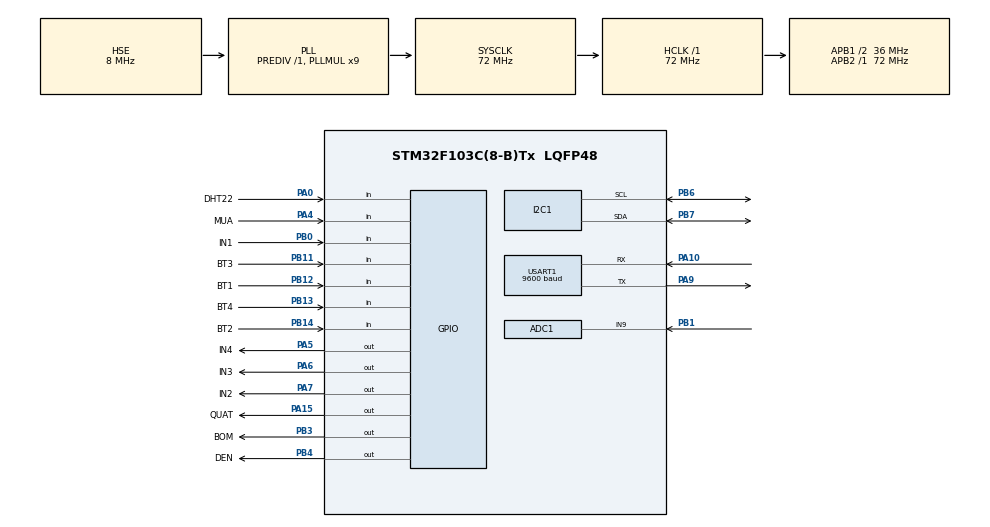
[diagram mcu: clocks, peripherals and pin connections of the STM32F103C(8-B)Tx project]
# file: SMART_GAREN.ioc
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Mcu.Family=STM32F1
ADC1.ContinuousConvMode=DISABLE
USART1.BaudRate=9600
PB14.GPIO_Label=BT2
PA6.GPIO_Label=IN3
PB0.GPIO_Label=IN1
PB11.GPIO_PuPd=GPIO_PULLUP
PB13.GPIO_Label=BT4
PB11.Signal=GPIO_Input
PB13.Signal=GPIO_Input
RCC.SYSCLKSource=RCC_SYSCLKSOURCE_PLLCLK
ProjectManager.StackSize=0x400
PD1-OSC_OUT.Signal=RCC_OSC_OUT
PA15.GPIO_Label=QUAT
TIM1.Prescaler=72-1
RCC.HCLKFreq_Value=72000000
RCC.APB2TimFreq_Value=72000000
PB6.Signal=I2C1_SCL
Dma.ADC1.0.Direction=DMA_PERIPH_TO_MEMORY
PB6.Mode=I2C
Dma.ADC1.0.MemDataAlignment=DMA_MDATAALIGN_WORD
RCC.AHBFreq_Value=72000000
PA4.GPIO_PuPd=GPIO_PULLUP
RCC.PLLMUL=RCC_PLL_MUL9
PB12.GPIO_Label=BT1
ADC1.SamplingTime-4\#ChannelRegularConversion=ADC_SAMPLETIME_55CYCLES_5
PA14.Mode=Serial_Wire
Dma.ADC1.0.PeriphInc=DMA_PINC_DISABLE
PB7.Signal=I2C1_SDA
VP_TIM1_VS_ClockSourceINT.Mode=Internal
Mcu.Package=LQFP48
PB14.GPIO_PuPd=GPIO_PULLUP
PB1.Signal=ADCx_IN9
PA6.Signal=GPIO_Output
PA10.Signal=USART1_RX
PA15.Signal=GPIO_Output
SH.ADCx_IN9.0=ADC1_IN9,IN9
RCC.APB1TimFreq_Value=72000000
TIM1.Period=0xffff-1
NVIC.USART1_IRQn=true\:0\:0\:false\:false\:true\:true\:true
Dma.Request0=ADC1
PA4.GPIO_Label=MUA
ADC1.Rank-4\#ChannelRegularConversion=1
PB4.Signal=GPIO_Output
PB3.GPIO_Label=BOM
RCC.PLLSourceVirtual=RCC_PLLSOURCE_HSE
Dma.ADC1.0.Instance=DMA1_Channel1
PD1-OSC_OUT.Mode=HSE-External-Oscillator
ADC1.Channel-4\#ChannelRegularConversion=ADC_CHANNEL_9
PA10.Mode=Asynchronous
PB11.GPIO_Label=BT3
PD0-OSC_IN.Signal=RCC_OSC_IN
RCC.APB1CLKDivider=RCC_HCLK_DIV2
PA0-WKUP.GPIO_Label=DHT22
PA0-WKUP.Signal=GPIO_Input
RCC.ADCPresc=RCC_ADCPCLK2_DIV6
PA13.Signal=SYS_JTMS-SWDIO
Dma.ADC1.0.PeriphDataAlignment=DMA_PDATAALIGN_WORD
PA9.Mode=Asynchronous
ProjectManager.TargetToolchain=STM32CubeIDE
Dma.ADC1.0.Mode=DMA_CIRCULAR
Dma.ADC1.0.Priority=DMA_PRIORITY_LOW
PA9.Signal=USART1_TX
RCC.USBFreq_Value=72000000
PD0-OSC_IN.Mode=HSE-External-Oscillator
PB14.Signal=GPIO_Input
PA5.Signal=GPIO_Output
board=custom
PB13.GPIO_PuPd=GPIO_PULLUP
RCC.APB2Freq_Value=72000000
PB4.GPIO_Label=DEN
PA13.Mode=Serial_Wire
Mcu.Name=STM32F103C(8-B)Tx
PB3.Signal=GPIO_Output
PA4.Signal=GPIO_Input
RCC.SYSCLKFreq_VALUE=72000000
PA7.GPIO_Label=IN2
ADC1.master=1
PA5.GPIO_Label=IN4
USART1.VirtualMode=VM_ASYNC
PB7.Mode=I2C
PA14.Signal=SYS_JTCK-SWCLK
Dma.ADC1.0.MemInc=DMA_MINC_ENABLE
ProjectManager.HeapSize=0x200
NVIC.PriorityGroup=NVIC_PRIORITYGROUP_4
ADC1.NbrOfConversionFlag=1
ADC1.EnableRegularConversion=ENABLE
NVIC.DMA1_Channel1_IRQn=true\:0\:0\:false\:false\:true\:false\:true
PB12.GPIO_PuPd=GPIO_PULLUP
RCC.APB1Freq_Value=36000000
PB0.Signal=GPIO_Input
PB12.Signal=GPIO_Input
PA7.Signal=GPIO_Output

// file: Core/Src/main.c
/* USER CODE BEGIN Header */
/**
 ******************************************************************************
 * @file           : main.c
 * @brief          : Main program body
 ******************************************************************************
 * @attention
 *
 * <h2><center>&copy; Copyright (c) 2023 STMicroelectronics.
 * All rights reserved.</center></h2>
 *
 * This software component is licensed by ST under BSD 3-Clause license,
 * the "License"; You may not use this file except in compliance with the
 * License. You may obtain a copy of the License at:
 *                        opensource.org/licenses/BSD-3-Clause
 *
 ******************************************************************************
 */
/* USER CODE END Header */
#include "main.h"

/* USER CODE BEGIN Includes */
#include "stdbool.h"
#include "stdio.h"
#include "string.h"
#include "i2c-lcd.h"
#include "button.h"
/* USER CODE END Includes */

ADC_HandleTypeDef hadc1;
DMA_HandleTypeDef hdma_adc1;

I2C_HandleTypeDef hi2c1;

TIM_HandleTypeDef htim1;

UART_HandleTypeDef huart1;

/* USER CODE BEGIN PV */
Button_t bt1, bt2, bt3, bt4;
/* USER CODE END PV */

void SystemClock_Config(void);
static void MX_GPIO_Init(void);
static void MX_DMA_Init(void);
static void MX_ADC1_Init(void);
static void MX_I2C1_Init(void);
static void MX_USART1_UART_Init(void);
static void MX_TIM1_Init(void);

/* USER CODE BEGIN 0 */
void microDelay(uint16_t delay) {
	__HAL_TIM_SET_COUNTER(&htim1, 0);
	while (__HAL_TIM_GET_COUNTER(&htim1) < delay)
		;
}
uint32_t value_adc;
uint16_t DAD;
uint64_t t_prev, t_prev2;
#define DHT22_PORT GPIOA
#define DHT22_PIN GPIO_PIN_0
uint8_t RH1, RH2, TC1, TC2, SUM, CHECK;
uint32_t pMillis, cMillis;
float tCelsius = 0;

float tFahrenheit = 0;
float RH = 0;

uint8_t DHT22_Start(void) {
	uint8_t Response = 0;
	GPIO_InitTypeDef GPIO_InitStructPrivate = { 0 };
	GPIO_InitStructPrivate.Pin = DHT22_PIN;
	GPIO_InitStructPrivate.Mode = GPIO_MODE_OUTPUT_PP;
	GPIO_InitStructPrivate.Speed = GPIO_SPEED_FREQ_LOW;
	GPIO_InitStructPrivate.Pull = GPIO_NOPULL;
	HAL_GPIO_Init(DHT22_PORT, &GPIO_InitStructPrivate); // set the pin as output
	HAL_GPIO_WritePin(DHT22_PORT, DHT22_PIN, 0);   // pull the pin low
	microDelay(1300);   // wait for 1300us
	HAL_GPIO_WritePin(DHT22_PORT, DHT22_PIN, 1);   // pull the pin high
	microDelay(30);   // wait for 30us
	GPIO_InitStructPrivate.Mode = GPIO_MODE_INPUT;
	GPIO_InitStructPrivate.Pull = GPIO_PULLUP;
	HAL_GPIO_Init(DHT22_PORT, &GPIO_InitStructPrivate); // set the pin as input
	microDelay(40);
	if (!(HAL_GPIO_ReadPin(DHT22_PORT, DHT22_PIN))) {
		microDelay(80);
		if ((HAL_GPIO_ReadPin(DHT22_PORT, DHT22_PIN)))
			Response = 1;
	}
	pMillis = HAL_GetTick();
	cMillis = HAL_GetTick();
	while ((HAL_GPIO_ReadPin(DHT22_PORT, DHT22_PIN)) && pMillis + 2 > cMillis) {
		cMillis = HAL_GetTick();
	}
	return Response;
}
uint8_t DHT22_Read(void) {
	uint8_t a, b;
	for (a = 0; a < 8; a++) {
		pMillis = HAL_GetTick();
		cMillis = HAL_GetTick();
		while (!(HAL_GPIO_ReadPin(DHT22_PORT, DHT22_PIN))
				&& pMillis + 2 > cMillis) {  // wait for the pin to go high
			cMillis = HAL_GetTick();
		}
		microDelay(40);   // wait for 40 us
		if (!(HAL_GPIO_ReadPin(DHT22_PORT, DHT22_PIN)))   // if the pin is low
			b &= ~(1 << (7 - a));
		else
			b |= (1 << (7 - a));
		pMillis = HAL_GetTick();
		cMillis = HAL_GetTick();
		while ((HAL_GPIO_ReadPin(DHT22_PORT, DHT22_PIN))
				&& pMillis + 2 > cMillis) {  // wait for the pin to go low
			cMillis = HAL_GetTick();
		}
	}
	return b;
}
void DHT22_value() {
	if (DHT22_Start()) {
		RH1 = DHT22_Read(); // First 8bits of humidity
		RH2 = DHT22_Read(); // Second 8bits of Relative humidity
		TC1 = DHT22_Read(); // First 8bits of Celsius
		TC2 = DHT22_Read(); // Second 8bits of Celsius
		SUM = DHT22_Read(); // Check sum
		CHECK = RH1 + RH2 + TC1 + TC2;
		if (CHECK == SUM) {
			if (TC1 > 127) // If TC1=10000000, negative temperature
					{
				tCelsius = (float) TC2 / 10 * (-1);
			} else {
				tCelsius = (float) ((TC1 << 8) | TC2) / 10;
			}
			tFahrenheit = tCelsius * 9 / 5 + 32;
			RH = (float) ((RH1 << 8) | RH2) / 10;
		}
	}
}
long map(long x, long in_min, long in_max, long out_min, long out_max) {
	return (x - in_min) * (out_max - out_min) / (in_max - in_min) + out_min;
}
uint8_t bom, quat, den;
uint8_t bom1 = 0, quat1 = 0, den1 = 0;
uint8_t tt = 0, tt1 = 0;
void bt_press_callback(Button_t *button) {
	if (button == &bt1) {
		bom1++;
		if (bom1 >= 2) {
			bom1 = 0;
			bom = 0;
		} else {
			bom = 1;
		}
	} else if (button == &bt2) {
		quat1++;
		if (quat1 >= 2) {
			quat1 = 0;
			quat = 0;
		} else {
			quat = 1;
		}
	} else if (button == &bt3) {
		den1++;
		if (den1 >= 2) {
			den1 = 0;
			den = 0;
		} else {
			den = 1;
		}
	} else if (button == &bt4) {
		tt1++;
		if (tt1 >= 2) {
			tt1 = 0;
			tt = 0;
		} else {
			tt = 1;
		}
	}
}
void on_off_led(uint8_t b, uint8_t q, uint8_t d) {
	switch (b) {
	case 1:
		HAL_GPIO_WritePin(BOM_GPIO_Port, BOM_Pin, 1);
		break;
	case 0:
		HAL_GPIO_WritePin(BOM_GPIO_Port, BOM_Pin, 0);
		break;
	default:
		break;
	}
	switch (q) {
	case 1:
		HAL_GPIO_WritePin(QUAT_GPIO_Port, QUAT_Pin, 1);
		break;
	case 0:
		HAL_GPIO_WritePin(QUAT_GPIO_Port, QUAT_Pin, 0);
		break;
	default:
		break;
	}
	switch (d) {
	case 1:
		HAL_GPIO_WritePin(DEN_GPIO_Port, DEN_Pin, 1);
		break;
	case 0:
		HAL_GPIO_WritePin(DEN_GPIO_Port, DEN_Pin, 0);
		break;
	default:
		break;
	}
}
uint8_t buf1[20], buf2[20], buf3[20], buffer[30];
void show_lcd() {
	sprintf((char*) buf1, "Nhiet Do: %2.1f ", tCelsius);
	sprintf((char*) buf2, "DAD:%d", DAD);
	sprintf((char*) buf3, " DA:%.1f", RH);
	//lcd_clear_display();
	lcd_goto_XY(1, 0);
	lcd_send_string((char*) buf1);
	lcd_send_string("C");
	lcd_goto_XY(2, 0);
	lcd_send_string((char*) buf2);
	lcd_send_string((char*) buf3);
}
uint8_t DataRx[20];
uint8_t flag = 0;
void HAL_UARTEx_RxEventCallback(UART_HandleTypeDef *huart, uint16_t Size) {
	flag = 1;
	HAL_UARTEx_ReceiveToIdle_IT(&huart1, DataRx, sizeof(DataRx));
}
void check() {
	if (strcmp((char*) DataRx, "Bom1\r\n") == 0) {
		bom = 1;
	} else if (strcmp((char*) DataRx, "Bom0\r\n") == 0) {
		bom = 0;
	} else if (strcmp((char*) DataRx, "Quat0\r\n") == 0) {
		quat = 0;
	} else if (strcmp((char*) DataRx, "Quat1\r\n") == 0) {
		quat = 1;
	} else if (strcmp((char*) DataRx, "Den0\r\n") == 0) {
		den = 0;
	} else if (strcmp((char*) DataRx, "Den1\r\n") == 0) {
		den = 1;
	} else if (strcmp((char*) DataRx, "T0\r\n") == 0) {
		tt = 0;
	} else if (strcmp((char*) DataRx, "T1\r\n") == 0) {
		tt = 1;
	}
}
void stepper_half_drive(int step) {
	switch (step) {
	case 0:
		HAL_GPIO_WritePin(IN1_GPIO_Port, IN1_Pin, GPIO_PIN_SET);   // IN1
		HAL_GPIO_WritePin(IN2_GPIO_Port, IN2_Pin, GPIO_PIN_RESET);   // IN2
		HAL_GPIO_WritePin(IN3_GPIO_Port, IN3_Pin, GPIO_PIN_RESET);   // IN3
		HAL_GPIO_WritePin(IN4_GPIO_Port, IN4_Pin, GPIO_PIN_RESET);   // IN4
		break;

	case 1:
		HAL_GPIO_WritePin(IN1_GPIO_Port, IN1_Pin, GPIO_PIN_SET);   // IN1
		HAL_GPIO_WritePin(IN2_GPIO_Port, IN2_Pin, GPIO_PIN_SET);   // IN2
		HAL_GPIO_WritePin(IN3_GPIO_Port, IN3_Pin, GPIO_PIN_RESET);   // IN3
		HAL_GPIO_WritePin(IN4_GPIO_Port, IN4_Pin, GPIO_PIN_RESET);   // IN4
		break;

	case 2:
		HAL_GPIO_WritePin(IN1_GPIO_Port, IN1_Pin, GPIO_PIN_RESET);   // IN1
		HAL_GPIO_WritePin(IN2_GPIO_Port, IN2_Pin, GPIO_PIN_SET);   // IN2
		HAL_GPIO_WritePin(IN3_GPIO_Port, IN3_Pin, GPIO_PIN_RESET);   // IN3
		HAL_GPIO_WritePin(IN4_GPIO_Port, IN4_Pin, GPIO_PIN_RESET);   // IN4
		break;

	case 3:
		HAL_GPIO_WritePin(IN1_GPIO_Port, IN1_Pin, GPIO_PIN_RESET);   // IN1
		HAL_GPIO_WritePin(IN2_GPIO_Port, IN2_Pin, GPIO_PIN_SET);   // IN2
		HAL_GPIO_WritePin(IN3_GPIO_Port, IN3_Pin, GPIO_PIN_SET);   // IN3
		HAL_GPIO_WritePin(IN4_GPIO_Port, IN4_Pin, GPIO_PIN_RESET);   // IN4
		break;

	case 4:
		HAL_GPIO_WritePin(IN1_GPIO_Port, IN1_Pin, GPIO_PIN_RESET);   // IN1
		HAL_GPIO_WritePin(IN2_GPIO_Port, IN2_Pin, GPIO_PIN_RESET);   // IN2
		HAL_GPIO_WritePin(IN3_GPIO_Port, IN3_Pin, GPIO_PIN_SET);   // IN3
		HAL_GPIO_WritePin(IN4_GPIO_Port, IN4_Pin, GPIO_PIN_RESET);   // IN4
		break;

	case 5:
		HAL_GPIO_WritePin(IN1_GPIO_Port, IN1_Pin, GPIO_PIN_RESET);   // IN1
		HAL_GPIO_WritePin(IN2_GPIO_Port, IN2_Pin, GPIO_PIN_RESET);   // IN2
		HAL_GPIO_WritePin(IN3_GPIO_Port, IN3_Pin, GPIO_PIN_SET);   // IN3
		HAL_GPIO_WritePin(IN4_GPIO_Port, IN4_Pin, GPIO_PIN_SET);   // IN4
		break;

	case 6:
		HAL_GPIO_WritePin(IN1_GPIO_Port, IN1_Pin, GPIO_PIN_RESET);   // IN1
		HAL_GPIO_WritePin(IN2_GPIO_Port, IN2_Pin, GPIO_PIN_RESET);   // IN2
		HAL_GPIO_WritePin(IN3_GPIO_Port, IN3_Pin, GPIO_PIN_RESET);   // IN3
		HAL_GPIO_WritePin(IN4_GPIO_Port, IN4_Pin, GPIO_PIN_SET);   // IN4
		break;

	case 7:
		HAL_GPIO_WritePin(IN1_GPIO_Port, IN1_Pin, GPIO_PIN_SET);   // IN1
		HAL_GPIO_WritePin(IN2_GPIO_Port, IN2_Pin, GPIO_PIN_RESET);   // IN2
		HAL_GPIO_WritePin(IN3_GPIO_Port, IN3_Pin, GPIO_PIN_RESET);   // IN3
		HAL_GPIO_WritePin(IN4_GPIO_Port, IN4_Pin, GPIO_PIN_SET);   // IN4
		break;

	}
}
#define stepsperrev 4096
void stepper_set_rpm(int rpm) // Set rpm--> max 13, min 1,,,  went to 14 rev/min
{
	microDelay(60000000 / stepsperrev / rpm);
}
void stepper_step_angle(float angle, int direction, int rpm) {
	float anglepersequence = 0.703125;  // 360 = 512 sequences
	int numberofsequences = (int) (angle / anglepersequence);

	for (int seq = 0; seq < numberofsequences; seq++) {
		if (direction == 0) { // for clockwise
			for (int step = 7; step >= 0; step--) {
				stepper_half_drive(step);
				stepper_set_rpm(rpm);
			}

		} else if (direction == 1) { // for anti-clockwise
			for (int step = 0; step < 8; step++) {
				stepper_half_drive(step);
				stepper_set_rpm(rpm);
			}
		}
	}
}
uint8_t cb_mua, check_cbmua;
uint8_t b1, b2, b3, b4;
/* USER CODE END 0 */

int main(void)
{

  /* MCU Configuration--------------------------------------------------------*/

  /* Reset of all peripherals, Initializes the Flash interface and the Systick. */
  HAL_Init();

  /* Configure the system clock */
  SystemClock_Config();

  /* Initialize all configured peripherals */
  MX_GPIO_Init();
  MX_DMA_Init();
  MX_ADC1_Init();
  MX_I2C1_Init();
  MX_USART1_UART_Init();
  MX_TIM1_Init();
  /* USER CODE BEGIN 2 */
	Button_Init(&bt1, BT1_GPIO_Port, BT1_Pin);
	Button_Init(&bt2, BT2_GPIO_Port, BT2_Pin);
	Button_Init(&bt3, BT3_GPIO_Port, BT3_Pin);
	Button_Init(&bt4, BT4_GPIO_Port, BT4_Pin);

	HAL_UARTEx_ReceiveToIdle_IT(&huart1, DataRx, sizeof(DataRx));

	HAL_ADC_Start_DMA(&hadc1, &value_adc, 1);
	HAL_ADCEx_Calibration_Start(&hadc1);
	HAL_TIM_Base_Start(&htim1);
	lcd_init();
	lcd_goto_XY(1, 0);
	lcd_send_string("XIN CHAO");
	t_prev = HAL_GetTick();
	t_prev2 = HAL_GetTick();
  /* USER CODE END 2 */

  /* Infinite loop */
  /* USER CODE BEGIN WHILE */
	while (1) {
		bt_handle(&bt1);
		bt_handle(&bt2);
		bt_handle(&bt3);
		bt_handle(&bt4);
		on_off_led(bom, quat, den);
		b1 = HAL_GPIO_ReadPin(BT1_GPIO_Port, BT1_Pin);
		b2 = HAL_GPIO_ReadPin(BT2_GPIO_Port, BT2_Pin);
		b3 = HAL_GPIO_ReadPin(BT3_GPIO_Port, BT3_Pin);
		b4 = HAL_GPIO_ReadPin(BT4_GPIO_Port, BT4_Pin);
		if (flag == 1) {
			check();
			memset(DataRx, 0, strlen((char*) DataRx));
			flag = 0;
		}

		cb_mua = HAL_GPIO_ReadPin(MUA_GPIO_Port, MUA_Pin);
		if (HAL_GPIO_ReadPin(MUA_GPIO_Port, MUA_Pin) == 0) {
			stepper_step_angle(360, 1, 13);
			check_cbmua = 1;
			t_prev2 = HAL_GetTick();
		}
		if (HAL_GPIO_ReadPin(MUA_GPIO_Port, MUA_Pin) == 1) {
			if (check_cbmua == 1) {
				if (HAL_GetTick() - t_prev2 >= 2000) {
					stepper_step_angle(360, 0, 13);
					check_cbmua = 0;
				}
			}
		}
		if (HAL_GetTick() - t_prev >= 500) {
			DHT22_value();
			HAL_ADC_Start_DMA(&hadc1, &value_adc, 1);
			DAD = map(value_adc, 0, 4096, 0, 100);
			show_lcd();
			sprintf((char*) buffer, "%.1f/%.1f/%d/%d/%d/%d/%d\r\n", tCelsius,
					RH, DAD, bom, quat, den, tt);
			HAL_UART_Transmit(&huart1, buffer, strlen((char*) buffer), 2000);
			t_prev = HAL_GetTick();
		}
		if (tt == 0) {
			if (tCelsius >= 30) {
				quat = 1;
			}
			if (tCelsius < 30) {
				quat = 0;
			}
			if (value_adc >= 1500) {
				bom = 1;
			}
			if (value_adc < 1500) {
				bom = 0;
			}
		}
    /* USER CODE END WHILE */

	}
}

void SystemClock_Config(void)
{
  RCC_OscInitTypeDef RCC_OscInitStruct = {0};
  RCC_ClkInitTypeDef RCC_ClkInitStruct = {0};
  RCC_PeriphCLKInitTypeDef PeriphClkInit = {0};

  /** Initializes the RCC Oscillators according to the specified parameters
  * in the RCC_OscInitTypeDef structure.
  */
  RCC_OscInitStruct.OscillatorType = RCC_OSCILLATORTYPE_HSE;
  RCC_OscInitStruct.HSEState = RCC_HSE_ON;
  RCC_OscInitStruct.HSEPredivValue = RCC_HSE_PREDIV_DIV1;
  RCC_OscInitStruct.HSIState = RCC_HSI_ON;
  RCC_OscInitStruct.PLL.PLLState = RCC_PLL_ON;
  RCC_OscInitStruct.PLL.PLLSource = RCC_PLLSOURCE_HSE;
  RCC_OscInitStruct.PLL.PLLMUL = RCC_PLL_MUL9;
  if (HAL_RCC_OscConfig(&RCC_OscInitStruct) != HAL_OK)
  {
    Error_Handler();
  }
  /** Initializes the CPU, AHB and APB buses clocks
  */
  RCC_ClkInitStruct.ClockType = RCC_CLOCKTYPE_HCLK|RCC_CLOCKTYPE_SYSCLK
                              |RCC_CLOCKTYPE_PCLK1|RCC_CLOCKTYPE_PCLK2;
  RCC_ClkInitStruct.SYSCLKSource = RCC_SYSCLKSOURCE_PLLCLK;
  RCC_ClkInitStruct.AHBCLKDivider = RCC_SYSCLK_DIV1;
  RCC_ClkInitStruct.APB1CLKDivider = RCC_HCLK_DIV2;
  RCC_ClkInitStruct.APB2CLKDivider = RCC_HCLK_DIV1;

  if (HAL_RCC_ClockConfig(&RCC_ClkInitStruct, FLASH_LATENCY_2) != HAL_OK)
  {
    Error_Handler();
  }
  PeriphClkInit.PeriphClockSelection = RCC_PERIPHCLK_ADC;
  PeriphClkInit.AdcClockSelection = RCC_ADCPCLK2_DIV6;
  if (HAL_RCCEx_PeriphCLKConfig(&PeriphClkInit) != HAL_OK)
  {
    Error_Handler();
  }
}

static void MX_ADC1_Init(void)
{

  ADC_ChannelConfTypeDef sConfig = {0};

  /** Common config
  */
  hadc1.Instance = ADC1;
  hadc1.Init.ScanConvMode = ADC_SCAN_DISABLE;
  hadc1.Init.ContinuousConvMode = DISABLE;
  hadc1.Init.DiscontinuousConvMode = DISABLE;
  hadc1.Init.ExternalTrigConv = ADC_SOFTWARE_START;
  hadc1.Init.DataAlign = ADC_DATAALIGN_RIGHT;
  hadc1.Init.NbrOfConversion = 1;
  if (HAL_ADC_Init(&hadc1) != HAL_OK)
  {
    Error_Handler();
  }
  /** Configure Regular Channel
  */
  sConfig.Channel = ADC_CHANNEL_9;
  sConfig.Rank = ADC_REGULAR_RANK_1;
  sConfig.SamplingTime = ADC_SAMPLETIME_55CYCLES_5;
  if (HAL_ADC_ConfigChannel(&hadc1, &sConfig) != HAL_OK)
  {
    Error_Handler();
  }

}

static void MX_I2C1_Init(void)
{

  hi2c1.Instance = I2C1;
  hi2c1.Init.ClockSpeed = 100000;
  hi2c1.Init.DutyCycle = I2C_DUTYCYCLE_2;
  hi2c1.Init.OwnAddress1 = 0;
  hi2c1.Init.AddressingMode = I2C_ADDRESSINGMODE_7BIT;
  hi2c1.Init.DualAddressMode = I2C_DUALADDRESS_DISABLE;
  hi2c1.Init.OwnAddress2 = 0;
  hi2c1.Init.GeneralCallMode = I2C_GENERALCALL_DISABLE;
  hi2c1.Init.NoStretchMode = I2C_NOSTRETCH_DISABLE;
  if (HAL_I2C_Init(&hi2c1) != HAL_OK)
  {
    Error_Handler();
  }

}

static void MX_TIM1_Init(void)
{

  TIM_ClockConfigTypeDef sClockSourceConfig = {0};
  TIM_MasterConfigTypeDef sMasterConfig = {0};

  htim1.Instance = TIM1;
  htim1.Init.Prescaler = 72-1;
  htim1.Init.CounterMode = TIM_COUNTERMODE_UP;
  htim1.Init.Period = 0xffff-1;
  htim1.Init.ClockDivision = TIM_CLOCKDIVISION_DIV1;
  htim1.Init.RepetitionCounter = 0;
  htim1.Init.AutoReloadPreload = TIM_AUTORELOAD_PRELOAD_DISABLE;
  if (HAL_TIM_Base_Init(&htim1) != HAL_OK)
  {
    Error_Handler();
  }
  sClockSourceConfig.ClockSource = TIM_CLOCKSOURCE_INTERNAL;
  if (HAL_TIM_ConfigClockSource(&htim1, &sClockSourceConfig) != HAL_OK)
  {
    Error_Handler();
  }
  sMasterConfig.MasterOutputTrigger = TIM_TRGO_RESET;
  sMasterConfig.MasterSlaveMode = TIM_MASTERSLAVEMODE_DISABLE;
  if (HAL_TIMEx_MasterConfigSynchronization(&htim1, &sMasterConfig) != HAL_OK)
  {
    Error_Handler();
  }

}

static void MX_USART1_UART_Init(void)
{

  huart1.Instance = USART1;
  huart1.Init.BaudRate = 9600;
  huart1.Init.WordLength = UART_WORDLENGTH_8B;
  huart1.Init.StopBits = UART_STOPBITS_1;
  huart1.Init.Parity = UART_PARITY_NONE;
  huart1.Init.Mode = UART_MODE_TX_RX;
  huart1.Init.HwFlowCtl = UART_HWCONTROL_NONE;
  huart1.Init.OverSampling = UART_OVERSAMPLING_16;
  if (HAL_UART_Init(&huart1) != HAL_OK)
  {
    Error_Handler();
  }

}

static void MX_DMA_Init(void)
{

  /* DMA controller clock enable */
  __HAL_RCC_DMA1_CLK_ENABLE();

  /* DMA interrupt init */
  /* DMA1_Channel1_IRQn interrupt configuration */
  HAL_NVIC_SetPriority(DMA1_Channel1_IRQn, 0, 0);
  HAL_NVIC_EnableIRQ(DMA1_Channel1_IRQn);

}

static void MX_GPIO_Init(void)
{
  GPIO_InitTypeDef GPIO_InitStruct = {0};

  /* GPIO Ports Clock Enable */
  __HAL_RCC_GPIOD_CLK_ENABLE();
  __HAL_RCC_GPIOA_CLK_ENABLE();
  __HAL_RCC_GPIOB_CLK_ENABLE();

  /*Configure GPIO pin Output Level */
  HAL_GPIO_WritePin(GPIOA, IN4_Pin|IN3_Pin|IN2_Pin|QUAT_Pin, GPIO_PIN_RESET);

  /*Configure GPIO pin Output Level */
  HAL_GPIO_WritePin(GPIOB, BOM_Pin|DEN_Pin, GPIO_PIN_RESET);

  /*Configure GPIO pin : DHT22_Pin */
  GPIO_InitStruct.Pin = DHT22_Pin;
  GPIO_InitStruct.Mode = GPIO_MODE_INPUT;
  GPIO_InitStruct.Pull = GPIO_NOPULL;
  HAL_GPIO_Init(DHT22_GPIO_Port, &GPIO_InitStruct);

  /*Configure GPIO pin : MUA_Pin */
  GPIO_InitStruct.Pin = MUA_Pin;
  GPIO_InitStruct.Mode = GPIO_MODE_INPUT;
  GPIO_InitStruct.Pull = GPIO_PULLUP;
  HAL_GPIO_Init(MUA_GPIO_Port, &GPIO_InitStruct);

  /*Configure GPIO pins : IN4_Pin IN3_Pin IN2_Pin QUAT_Pin */
  GPIO_InitStruct.Pin = IN4_Pin|IN3_Pin|IN2_Pin|QUAT_Pin;
  GPIO_InitStruct.Mode = GPIO_MODE_OUTPUT_PP;
  GPIO_InitStruct.Pull = GPIO_NOPULL;
  GPIO_InitStruct.Speed = GPIO_SPEED_FREQ_LOW;
  HAL_GPIO_Init(GPIOA, &GPIO_InitStruct);

  /*Configure GPIO pin : IN1_Pin */
  GPIO_InitStruct.Pin = IN1_Pin;
  GPIO_InitStruct.Mode = GPIO_MODE_INPUT;
  GPIO_InitStruct.Pull = GPIO_NOPULL;
  HAL_GPIO_Init(IN1_GPIO_Port, &GPIO_InitStruct);

  /*Configure GPIO pins : BT3_Pin BT1_Pin BT4_Pin BT2_Pin */
  GPIO_InitStruct.Pin = BT3_Pin|BT1_Pin|BT4_Pin|BT2_Pin;
  GPIO_InitStruct.Mode = GPIO_MODE_INPUT;
  GPIO_InitStruct.Pull = GPIO_PULLUP;
  HAL_GPIO_Init(GPIOB, &GPIO_InitStruct);

  /*Configure GPIO pins : BOM_Pin DEN_Pin */
  GPIO_InitStruct.Pin = BOM_Pin|DEN_Pin;
  GPIO_InitStruct.Mode = GPIO_MODE_OUTPUT_PP;
  GPIO_InitStruct.Pull = GPIO_NOPULL;
  GPIO_InitStruct.Speed = GPIO_SPEED_FREQ_LOW;
  HAL_GPIO_Init(GPIOB, &GPIO_InitStruct);

}

void Error_Handler(void)
{
	__disable_irq();
	while (1) {
	}
}

/************************ (C) COPYRIGHT STMicroelectronics *****END OF FILE****/
